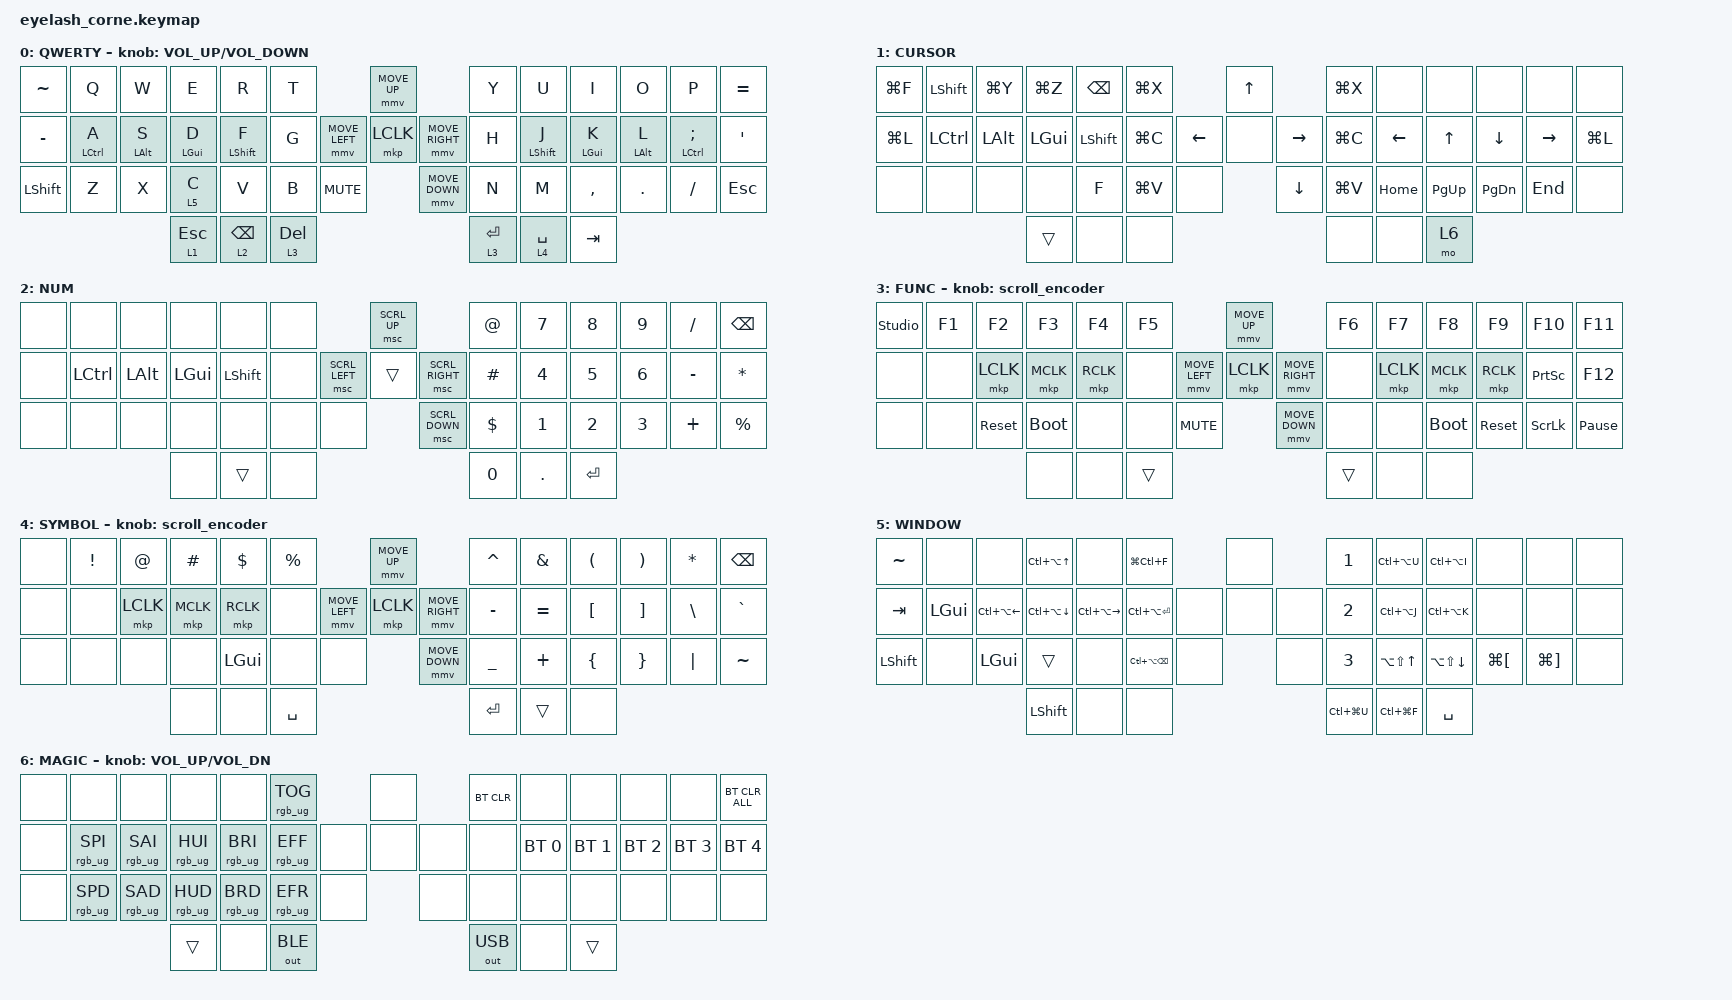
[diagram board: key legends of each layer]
#include <dt-bindings/zmk/mouse.h>
#include <input/processors.dtsi>
#include <behaviors.dtsi>
#include <dt-bindings/zmk/bt.h>
#include <dt-bindings/zmk/keys.h>
#include <dt-bindings/zmk/outputs.h>
#include <dt-bindings/zmk/pointing.h>
#include <dt-bindings/zmk/pointing.h>
#include <dt-bindings/zmk/pointing.h>
#include <dt-bindings/zmk/rgb.h>

/*

   &mmv_input_listener {
       input-processors = <&zip_xy_scaler 2 1>;
   };

   &msc_input_listener {
       input-processors = <&zip_xy_scaler 2 1>;
   };

 */

#define ZMK_MOUSE_DEFAULT_MOVE_VAL 6600  // 600
#define ZMK_MOUSE_DEFAULT_SCRL_VAL 60    // 10

&mmv {
    delay-ms = <0>;
    time-to-max-speed-ms = <1000>;
    acceleration-exponent = <1>;
};

&msc { delay-ms = <0>; };

/ {
    behaviors {
        td0: td0 {
            compatible = "zmk,behavior-tap-dance";
            display-name = "Shift/Caps Lock Tap Dance";
            #binding-cells = <0>;
            bindings = <&kp LEFT_SHIFT>, <&caps_word>;
        };

        homey_left_pinky: homey_left_pinky {
            compatible = "zmk,behavior-hold-tap";
            label = "HOMEY_LEFT_PINKY";
            bindings = <&kp>, <&kp>;

            #binding-cells = <2>;
            hold-trigger-key-positions = <7 8 10 11 12 22 23 24 25 26 27 36 37 38 39 40 41 46 47 9 45 42 43 44>;
            flavor = "balanced";
            tapping-term-ms = <310>;
            quick-tap-ms = <350>;
            require-prior-idle-ms = <200>;
            hold-trigger-on-release;
        };

        homey_right_pinky: homey_right_pinky {
            compatible = "zmk,behavior-hold-tap";
            label = "HOMEY_RIGHT_PINKY";
            bindings = <&kp>, <&kp>;

            #binding-cells = <2>;
            tapping-term-ms = <310>;
            quick-tap-ms = <350>;
            require-prior-idle-ms = <200>;
            flavor = "balanced";
            hold-trigger-on-release;
            hold-trigger-key-positions = <0 1 2 3 4 5 13 14 15 16 17 18 28 29 30 31 32 33 42 43 44 45 46 47>;
        };

        homey_left_ring: homey_left_ring {
            compatible = "zmk,behavior-hold-tap";
            label = "HOMEY_LEFT_RING";
            bindings = <&kp>, <&kp>;

            #binding-cells = <2>;
            tapping-term-ms = <290>;
            quick-tap-ms = <350>;
            require-prior-idle-ms = <200>;
            flavor = "balanced";
            hold-trigger-on-release;
            hold-trigger-key-positions = <7 8 9 10 11 12 22 23 24 25 26 27 36 37 38 39 40 41 45 46 47 42 43 44>;
        };

        homey_right_ring: homey_right_ring {
            compatible = "zmk,behavior-hold-tap";
            label = "HOMEY_RIGHT_RING";
            bindings = <&kp>, <&kp>;

            #binding-cells = <2>;
            tapping-term-ms = <290>;
            quick-tap-ms = <350>;
            require-prior-idle-ms = <200>;
            flavor = "balanced";
            hold-trigger-on-release;
            hold-trigger-key-positions = <0 1 2 3 4 5 13 14 15 16 17 18 28 29 30 31 32 33 42 43 44 45 46 47>;
        };

        homey_left_middy: homey_left_middy {
            compatible = "zmk,behavior-hold-tap";
            label = "HOMEY_LEFT_MIDDY";
            bindings = <&kp>, <&kp>;

            #binding-cells = <2>;
            tapping-term-ms = <260>;
            quick-tap-ms = <350>;
            require-prior-idle-ms = <200>;
            flavor = "balanced";
            hold-trigger-on-release;
            hold-trigger-key-positions = <7 8 9 10 11 12 22 23 24 25 26 27 36 37 38 39 40 41 45 46 47 42 43 44>;
        };

        homey_right_middy: homey_right_middy {
            compatible = "zmk,behavior-hold-tap";
            label = "HOMEY_RIGHT_MIDDY";
            bindings = <&kp>, <&kp>;

            #binding-cells = <2>;
            tapping-term-ms = <260>;
            quick-tap-ms = <350>;
            require-prior-idle-ms = <200>;
            flavor = "balanced";
            hold-trigger-on-release;
            hold-trigger-key-positions = <0 1 13 14 15 16 17 18 28 29 30 31 32 33 42 43 44 2 3 4 5 45 46 47>;
        };

        homey_left_index: homey_left_index {
            compatible = "zmk,behavior-hold-tap";
            label = "HOMEY_LEFT_INDEX";
            bindings = <&kp>, <&kp>;

            #binding-cells = <2>;
            tapping-term-ms = <220>;
            quick-tap-ms = <350>;
            require-prior-idle-ms = <200>;
            flavor = "balanced";
            hold-trigger-on-release;
            hold-trigger-key-positions = <42 43 44 45 46 47 7 8 9 10 11 12 22 23 24 25 26 27 36 37 38 39 40 41>;
        };

        homey_right_index: homey_right_index {
            compatible = "zmk,behavior-hold-tap";
            label = "HOMEY_RIGHT_INDEX";
            bindings = <&kp>, <&kp>;

            #binding-cells = <2>;
            tapping-term-ms = <220>;
            quick-tap-ms = <350>;
            require-prior-idle-ms = <200>;
            flavor = "balanced";
            hold-trigger-on-release;
            hold-trigger-key-positions = <0 1 2 3 4 5 13 14 15 16 17 18 28 29 30 31 32 33 42 43 44 45 46 47>;
        };

        thumb_layer_access: thumb_layer_access {
            compatible = "zmk,behavior-hold-tap";
            label = "THUMB_LAYER_ACCESS";
            bindings = <&mo>, <&kp>;

            #binding-cells = <2>;
            flavor = "tap-preferred";
            tapping-term-ms = <250>;
            quick-tap-ms = <350>;
        };

        thumb_layer_access_spacebar: thumb_layer_access_spacebar {
            compatible = "zmk,behavior-hold-tap";
            label = "THUMB_LAYER_ACCESS_SPACEBAR";
            bindings = <&mo>, <&kp>;

            #binding-cells = <2>;
            flavor = "tap-preferred";
            tapping-term-ms = <250>;
            quick-tap-ms = <200>;
        };
    };

    rgb_encoder: rgb_encoder {
        compatible = "zmk,behavior-sensor-rotate";
        #sensor-binding-cells = <0>;
        bindings = <&rgb_ug RGB_BRI>, <&rgb_ug RGB_BRD>;
    };

    scroll_encoder: scroll_encoder {
        compatible = "zmk,behavior-sensor-rotate";
        #sensor-binding-cells = <0>;
        bindings = <&msc SCRL_DOWN>, <&msc SCRL_UP>;

        tap-ms = <30>;
    };

    keymap {
        compatible = "zmk,keymap";

        default_layer {
            display-name = "QWERTY";
            bindings = <
&kp TILDE       &kp Q                      &kp W                        &kp E                      &kp R                            &kp T                                                    &mmv MOVE_UP                     &kp Y                        &kp U                                 &kp I                      &kp O                     &kp P                          &kp EQUAL
&kp MINUS       &homey_left_pinky LCTRL A  &homey_left_ring LEFT_ALT S  &homey_left_middy LGUI D   &homey_left_index LSHIFT F       &kp G                                    &mmv MOVE_LEFT  &mkp LCLK       &mmv MOVE_RIGHT  &kp H                        &homey_right_index LSHIFT J           &homey_right_middy LGUI K  &homey_right_ring LALT L  &homey_right_pinky LCTRL SEMI  &kp SQT
&kp LEFT_SHIFT  &kp Z                      &kp X                        &thumb_layer_access 5 C    &kp V                            &kp B                      &kp C_MUTE                    &mmv MOVE_DOWN                   &kp N                        &kp M                                 &kp COMMA                  &kp DOT                   &kp FSLH                       &kp ESC
                                                                        &thumb_layer_access 1 ESC  &thumb_layer_access 2 BACKSPACE  &thumb_layer_access 3 DEL                                                                 &thumb_layer_access 3 ENTER  &thumb_layer_access_spacebar 4 SPACE  &kp TAB
            >;

            sensor-bindings = <&inc_dec_kp C_VOLUME_UP C_VOLUME_DOWN>;
        };

        CURSOR {
            bindings = <
&kp LG(F)  &kp LSHIFT  &kp LG(Y)  &kp LG(Z)  &kp BACKSPACE  &kp LG(X)                     &kp UP               &kp LG(X)  &none           &none         &none           &none            &none
&kp LG(L)  &kp LCTRL   &kp LALT   &kp LGUI   &kp LSHIFT     &kp LG(C)           &kp LEFT  &none     &kp RIGHT  &kp LG(C)  &kp LEFT_ARROW  &kp UP_ARROW  &kp DOWN_ARROW  &kp RIGHT_ARROW  &kp LG(L)
&none      &none       &none      &none      &kp F          &kp LG(V)  &none              &kp DOWN             &kp LG(V)  &kp HOME        &kp PG_UP     &kp PG_DN       &kp END          &none
                                  &trans     &none          &none                                              &none      &none           &mo 6
            >;

            label = "CURSOR";
        };

        NUMPAD {
            bindings = <
&none  &none      &none     &none     &none      &none                           &msc SCRL_UP                     &kp AT      &kp N7   &kp N8   &kp N9  &kp FSLH   &kp BACKSPACE
&none  &kp LCTRL  &kp LALT  &kp LGUI  &kp LSHFT  &none           &msc SCRL_LEFT  &trans          &msc SCRL_RIGHT  &kp POUND   &kp N4   &kp N5   &kp N6  &kp MINUS  &kp ASTRK
&none  &none      &none     &none     &none      &none  &none                    &msc SCRL_DOWN                   &kp DOLLAR  &kp N1   &kp N2   &kp N3  &kp PLUS   &kp PRCNT
                            &none     &trans     &none                                                            &kp N0      &kp DOT  &kp RET
            >;

            label = "NUM";
        };

        fn {
            display-name = "FUNC";
            bindings = <
&studio_unlock  &kp F1  &kp F2      &kp F3       &kp F4     &kp F5                                &mmv MOVE_UP                     &kp F6  &kp F7     &kp F8       &kp F9      &kp F10          &kp F11
&none           &none   &mkp LCLK   &mkp MCLK    &mkp RCLK  &none                 &mmv MOVE_LEFT  &mkp LCLK       &mmv MOVE_RIGHT  &none   &mkp LCLK  &mkp MCLK    &mkp RCLK   &kp PRINTSCREEN  &kp F12
&none           &none   &sys_reset  &bootloader  &none      &none   &kp C_MUTE                    &mmv MOVE_DOWN                   &none   &none      &bootloader  &sys_reset  &kp SCROLLLOCK   &kp PAUSE_BREAK
                                    &none        &none      &trans                                                                 &trans  &none      &none
            >;

            sensor-bindings = <&scroll_encoder>;
        };

        symbol {
            display-name = "SYMBOL";
            bindings = <
&none  &kp EXCL  &kp AT     &kp HASH   &kp DLLR   &kp PRCNT                           &mmv MOVE_UP                     &kp CARET  &kp AMPS   &kp LPAR  &kp RPAR  &kp ASTRK  &kp BSPC
&none  &none     &mkp LCLK  &mkp MCLK  &mkp RCLK  &none               &mmv MOVE_LEFT  &mkp LCLK       &mmv MOVE_RIGHT  &kp MINUS  &kp EQUAL  &kp LBKT  &kp RBKT  &kp BSLH   &kp GRAVE
&none  &none     &none      &none      &kp LGUI   &none      &none                    &mmv MOVE_DOWN                   &kp UNDER  &kp PLUS   &kp LBRC  &kp RBRC  &kp PIPE   &kp TILDE
                            &none      &none      &kp SPACE                                                            &kp RET    &trans     &none
            >;

            sensor-bindings = <&scroll_encoder>;
        };

        wndw_mgmt {
            bindings = <
&kp TILDE  &none     &none             &kp LC(LA(UP))    &none              &kp LG(LC(F))                     &none         &kp N1         &kp LC(LA(U))   &kp LC(LA(I))     &none         &none         &none
&kp TAB    &kp LGUI  &kp LC(LA(LEFT))  &kp LC(LA(DOWN))  &kp LC(LA(RIGHT))  &kp LC(LA(RET))            &none  &none  &none  &kp N2         &kp LC(LA(J))   &kp LC(LA(K))     &none         &none         &none
&kp LSHFT  &none     &kp LGUI          &trans            &none              &kp LC(LA(BSPC))  &none           &none         &kp N3         &kp LA(LS(UP))  &kp LA(LS(DOWN))  &kp LG(LBKT)  &kp LG(RBKT)  &none
                                       &kp LSHFT         &none              &none                                           &kp LC(LG(U))  &kp LC(LG(F))   &kp SPACE
            >;

            label = "WINDOW";
        };

        magic {
            bindings = <
&none  &none            &none            &none            &none            &rgb_ug RGB_TOG                  &none         &bt BT_CLR    &none         &none         &none         &none         &bt BT_CLR_ALL
&none  &rgb_ug RGB_SPI  &rgb_ug RGB_SAI  &rgb_ug RGB_HUI  &rgb_ug RGB_BRI  &rgb_ug RGB_EFF           &none  &none  &none  &none         &bt BT_SEL 0  &bt BT_SEL 1  &bt BT_SEL 2  &bt BT_SEL 3  &bt BT_SEL 4
&none  &rgb_ug RGB_SPD  &rgb_ug RGB_SAD  &rgb_ug RGB_HUD  &rgb_ug RGB_BRD  &rgb_ug RGB_EFR  &none           &none         &none         &none         &none         &none         &none         &none
                                         &trans           &none            &out OUT_BLE                                   &out OUT_USB  &none         &trans
            >;

            label = "MAGIC";
            sensor-bindings = <&inc_dec_kp C_VOLUME_UP C_VOL_DN>;
        };
    };
};
